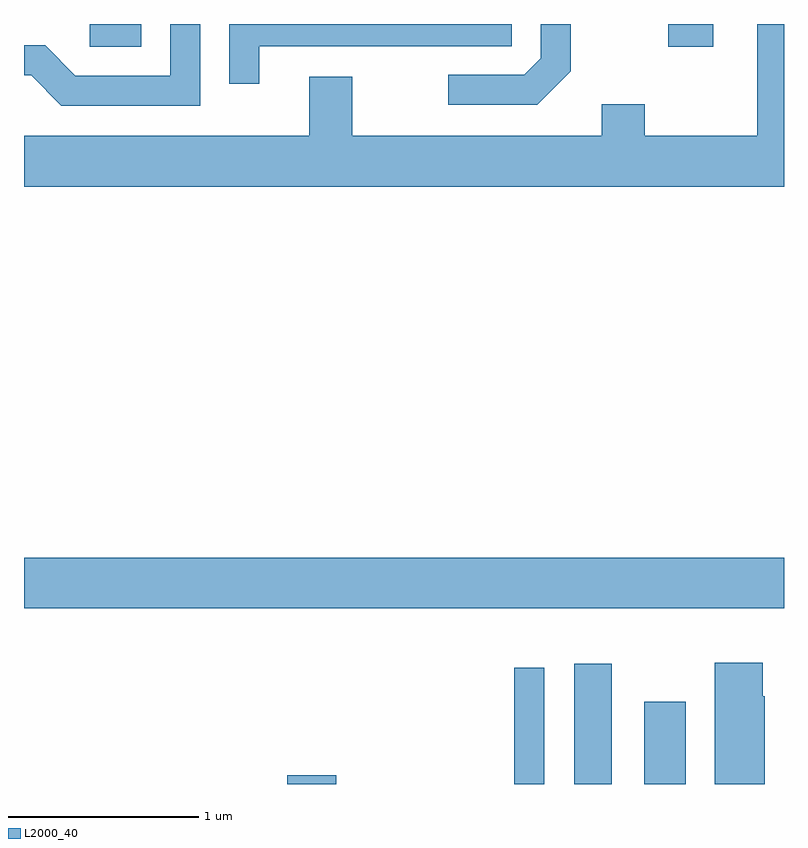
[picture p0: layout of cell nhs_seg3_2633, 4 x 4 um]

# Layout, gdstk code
import gdstk
lib = gdstk.Library(unit=1e-6, precision=1e-09)
def R(c, l, rs):  # rectangles x0, y0, x1, y1
    for r in rs: c.add(gdstk.rectangle(r[:2], r[2:], *l))
def P(c, l, *ps):  # polygons
    for p in ps: c.add(gdstk.Polygon(p, *l))
L2000_40 = (2000, 40)

nhs_seg3_2633 = lib.new_cell('nhs_seg3_2633')
R(nhs_seg3_2633, L2000_40, [(262.996,1213.892,263.254,1213.939), (264.191,1213.892,264.349,1214.503), (264.506,1213.892,264.704,1214.524), (264.876,1213.892,265.094,1214.324), (261.611,1214.816,265.611,1215.084), (261.957,1217.771,262.229,1217.892), (265.003,1217.771,265.239,1217.892)])
P(nhs_seg3_2633, L2000_40, [(265.611,1217.892),(265.471,1217.892),(265.471,1217.304),(264.879,1217.304),(264.879,1217.469),(264.651,1217.469),(264.651,1217.304),(263.339,1217.304),(263.339,1217.614),(263.111,1217.614),(263.111,1217.304),(261.611,1217.304),(261.611,1217.036),(265.611,1217.036)],
  [(262.849,1217.776),(264.179,1217.776),(264.179,1217.892),(262.691,1217.892),(262.691,1217.578),(262.849,1217.578)],
  [(262.539,1217.892),(262.381,1217.892),(262.381,1217.619),(261.882,1217.619),(261.722,1217.779),(261.611,1217.779),(261.611,1217.621),(261.649,1217.621),(261.808,1217.461),(262.539,1217.461)],
  [(264.489,1217.644),(264.489,1217.892),(264.331,1217.892),(264.331,1217.712),(264.244,1217.624),(263.843,1217.624),(263.843,1217.466),(264.312,1217.466)],
  [(265.509,1214.355),(265.499,1214.355),(265.499,1214.529),(265.246,1214.529),(265.246,1213.892),(265.509,1213.892)])

lib.write_gds('nhs_seg3_2633.gds')
